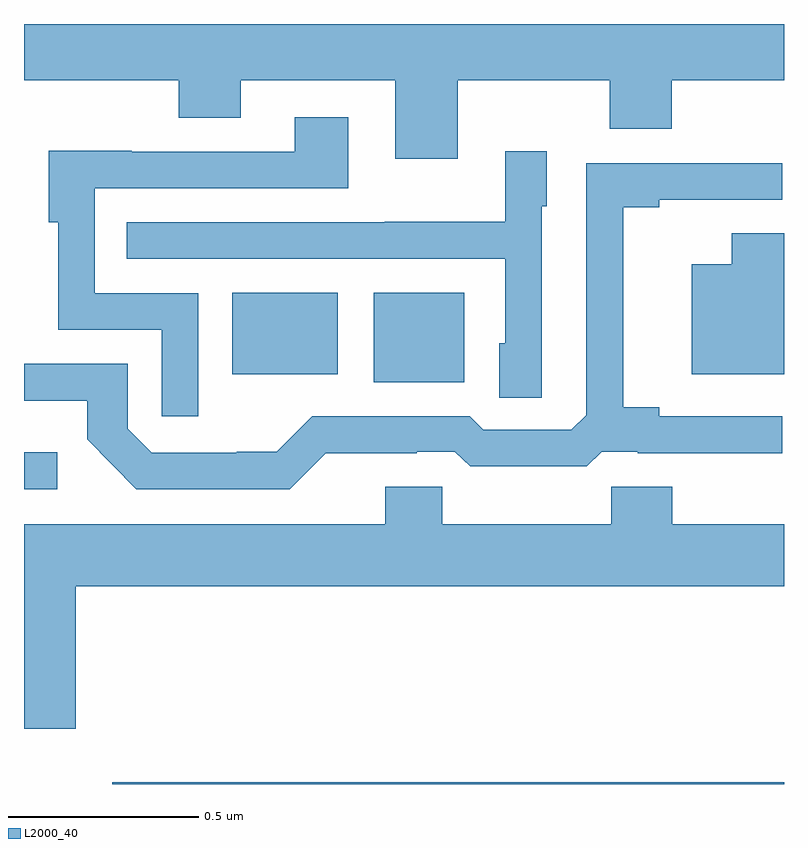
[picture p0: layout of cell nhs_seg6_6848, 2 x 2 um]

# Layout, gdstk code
import gdstk
lib = gdstk.Library(unit=1e-6, precision=1e-09)
def R(c, l, rs):  # rectangles x0, y0, x1, y1
    for r in rs: c.add(gdstk.rectangle(r[:2], r[2:], *l))
def P(c, l, *ps):  # polygons
    for p in ps: c.add(gdstk.Polygon(p, *l))
L2000_40 = (2000, 40)

nhs_seg6_6848 = lib.new_cell('nhs_seg6_6848')
R(nhs_seg6_6848, L2000_40, [(201.232,929.5,203,929.504), (201,930.276,201.088,930.373), (201.92,930.557,202.159,930.793), (201.548,930.578,201.826,930.793)])
P(nhs_seg6_6848, L2000_40, [(202.141,931.352),(202.541,931.352),(202.541,931.224),(202.705,931.224),(202.705,931.352),(203,931.352),(203,931.5),(201,931.5),(201,931.352),(201.407,931.352),(201.407,931.253),(201.571,931.253),(201.571,931.352),(201.977,931.352),(201.977,931.146),(202.141,931.146)],
  [(201.459,930.792),(201.186,930.792),(201.186,931.068),(201.853,931.068),(201.853,931.255),(201.713,931.255),(201.713,931.164),(201.283,931.164),(201.283,931.166),(201.065,931.166),(201.065,930.978),(201.09,930.978),(201.09,930.696),(201.363,930.696),(201.363,930.468),(201.459,930.468)],
  [(202.362,931.02),(202.375,931.02),(202.375,931.165),(202.266,931.165),(202.266,930.979),(201.949,930.979),(201.949,930.978),(201.271,930.978),(201.271,930.882),(202.266,930.882),(202.266,930.66),(202.25,930.66),(202.25,930.517),(202.362,930.517)],
  [(201.794,930.371),(202.034,930.371),(202.034,930.375),(202.134,930.375),(202.174,930.336),(202.481,930.336),(202.521,930.375),(202.615,930.375),(202.615,930.371),(202.996,930.371),(202.996,930.468),(202.672,930.468),(202.672,930.491),(202.577,930.491),(202.577,931.018),(202.672,931.018),(202.672,931.038),(202.996,931.038),(202.996,931.134),(202.479,931.134),(202.479,930.471),(202.44,930.432),(202.209,930.432),(202.173,930.468),(201.759,930.468),(201.665,930.374),(201.56,930.374),(201.56,930.372),(201.336,930.372),(201.273,930.435),(201.273,930.606),(201,930.606),(201,930.509),(201.166,930.509),(201.166,930.407),(201.296,930.276),(201.699,930.276)],
  [(203,930.949),(202.862,930.949),(202.862,930.868),(202.757,930.868),(202.757,930.578),(203,930.578)],
  [(201.136,930.02),(203,930.02),(203,930.184),(202.706,930.184),(202.706,930.282),(202.546,930.282),(202.546,930.184),(202.101,930.184),(202.101,930.282),(201.95,930.282),(201.95,930.184),(201,930.184),(201,929.646),(201.136,929.646)])

lib.write_gds('nhs_seg6_6848.gds')
